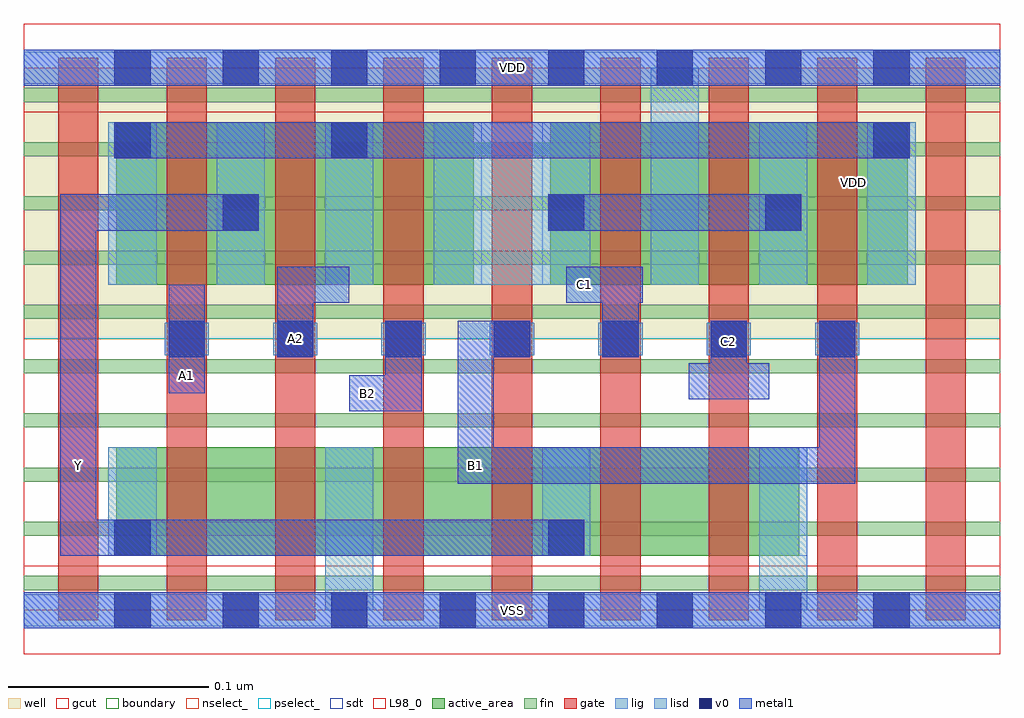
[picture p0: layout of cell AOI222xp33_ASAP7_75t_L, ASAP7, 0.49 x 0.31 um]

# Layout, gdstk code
import gdstk
lib = gdstk.Library(unit=1e-6, precision=2.5e-10)
def R(c, l, rs):  # rectangles x0, y0, x1, y1
    for r in rs: c.add(gdstk.rectangle(r[:2], r[2:], *l))
def A(c, l, x, y, w, h, nx, ny, dx, dy):  # array of equal rectangles
    R(c, l, [(x+i*dx, y+j*dy, x+i*dx+w, y+j*dy+h) for i in range(nx) for j in range(ny)])
def P(c, l, *ps):  # polygons
    for p in ps: c.add(gdstk.Polygon(p, *l))
well = (1, 0)
fin = (2, 0)
gate = (7, 0)
gcut = (10, 0)
active_area = (11, 0)
nselect_ = (12, 0)
pselect_ = (13, 0)
lig = (16, 0)
lisd = (17, 0)
v0 = (18, 0)
metal1 = (19, 0)
sdt = (88, 0)
L98_0 = (98, 0)
boundary = (100, 0)

aoi222xp33_asap7_75t_l = lib.new_cell('AOI222xp33_ASAP7_75t_L')
R(aoi222xp33_asap7_75t_l, well, [(0,0.135,0.486,0.27)])
A(aoi222xp33_asap7_75t_l, fin, 0, 0.01, 0.486, 0.007, 1, 10, 0, 0.027)
A(aoi222xp33_asap7_75t_l, gate, 0.017, -0.005, 0.02, 0.28, 9, 1, 0.054, 0)
R(aoi222xp33_asap7_75t_l, gcut, [(0,-0.022,0.486,0.022), (0,0.248,0.486,0.292)])
R(aoi222xp33_asap7_75t_l, active_area, [(0.046,0.027,0.386,0.081), (0.046,0.162,0.224,0.243), (0.262,0.162,0.44,0.243)])
R(aoi222xp33_asap7_75t_l, nselect_, [(0,0,0.486,0.135)])
R(aoi222xp33_asap7_75t_l, pselect_, [(0,0.135,0.486,0.27)])
A(aoi222xp33_asap7_75t_l, lig, 0.07, 0.127, 0.022, 0.016, 7, 1, 0.054, 0)
R(aoi222xp33_asap7_75t_l, lig, [(0,-0.008,0.486,0.008), (0,0.262,0.486,0.278)])
A(aoi222xp33_asap7_75t_l, lisd, 0.042, 0.162, 0.024, 0.081, 3, 1, 0.054, 0)
R(aoi222xp33_asap7_75t_l, lisd, [(0.15,0,0.174,0.081), (0.366,0,0.39,0.081), (0.042,0.027,0.066,0.081), (0.258,0.027,0.282,0.081), (0.204,0.162,0.282,0.243), (0.312,0.162,0.336,0.27), (0.366,0.162,0.39,0.243), (0.42,0.162,0.444,0.243)])
A(aoi222xp33_asap7_75t_l, v0, 0.045, -0.009, 0.018, 0.018, 8, 2, 0.054, 0.27)
A(aoi222xp33_asap7_75t_l, v0, 0.072, 0.126, 0.018, 0.018, 7, 1, 0.054, 0)
R(aoi222xp33_asap7_75t_l, v0, [(0.045,0.027,0.063,0.045), (0.261,0.027,0.279,0.045), (0.099,0.189,0.117,0.207), (0.261,0.189,0.279,0.207), (0.369,0.189,0.387,0.207), (0.045,0.225,0.063,0.243), (0.153,0.225,0.171,0.243), (0.423,0.225,0.441,0.243)])
R(aoi222xp33_asap7_75t_l, metal1, [(0,-0.009,0.486,0.009), (0.331,0.105,0.371,0.123), (0.072,0.108,0.09,0.162), (0.342,0.108,0.36,0.144), (0.276,0.153,0.308,0.171), (0.261,0.189,0.387,0.207), (0.045,0.225,0.441,0.243), (0,0.261,0.486,0.279)])
P(aoi222xp33_asap7_75t_l, metal1, [(0.126,0.126),(0.126,0.171),(0.162,0.171),(0.162,0.153),(0.144,0.153),(0.144,0.126)],
  [(0.288,0.126),(0.288,0.153),(0.27,0.153),(0.27,0.171),(0.306,0.171),(0.306,0.126)],
  [(0.162,0.099),(0.162,0.117),(0.18,0.117),(0.18,0.144),(0.198,0.144),(0.198,0.099)],
  [(0.162,0.099),(0.162,0.117),(0.18,0.117),(0.18,0.144),(0.198,0.144),(0.198,0.099)],
  [(0.162,0.099),(0.162,0.117),(0.18,0.117),(0.18,0.144),(0.198,0.144),(0.198,0.099)],
  [(0.018,0.027),(0.018,0.207),(0.117,0.207),(0.117,0.189),(0.036,0.189),(0.036,0.045),(0.279,0.045),(0.279,0.027)],
  [(0.216,0.063),(0.216,0.144),(0.252,0.144),(0.252,0.126),(0.234,0.126),(0.234,0.081),(0.396,0.081),(0.396,0.144),(0.414,0.144),(0.414,0.063)])
A(aoi222xp33_asap7_75t_l, sdt, 0.042, 0.027, 0.024, 0.054, 4, 1, 0.108, 0)
A(aoi222xp33_asap7_75t_l, sdt, 0.042, 0.162, 0.024, 0.081, 8, 1, 0.054, 0)
R(aoi222xp33_asap7_75t_l, L98_0, [(0,0,0.486,0.27)])
R(aoi222xp33_asap7_75t_l, boundary, [(0,0,0.486,0.27)])
aoi222xp33_asap7_75t_l.add(gdstk.Label('Y', (0.027,0.072), layer=19, texttype=251))
aoi222xp33_asap7_75t_l.add(gdstk.Label('C1', (0.279,0.162), layer=19, texttype=251))
aoi222xp33_asap7_75t_l.add(gdstk.Label('B2', (0.171,0.108), layer=19, texttype=251))
aoi222xp33_asap7_75t_l.add(gdstk.Label('A2', (0.135,0.135), layer=19, texttype=251))
aoi222xp33_asap7_75t_l.add(gdstk.Label('A1', (0.081,0.117), layer=19, texttype=251))
aoi222xp33_asap7_75t_l.add(gdstk.Label('VSS', (0.243,0), layer=19, texttype=251))
aoi222xp33_asap7_75t_l.add(gdstk.Label('VDD', (0.243,0.27), layer=19, texttype=251))
aoi222xp33_asap7_75t_l.add(gdstk.Label('B1', (0.225,0.072), layer=19, texttype=251))
aoi222xp33_asap7_75t_l.add(gdstk.Label('C2', (0.351,0.134), layer=19, texttype=251))
aoi222xp33_asap7_75t_l.add(gdstk.Label('VDD', (0.413,0.213), layer=1, texttype=251))
aoi222xp33_asap7_75t_l.add(gdstk.Label('VSS', (0.559,0.213), layer=3, texttype=251))

lib.write_gds('AOI222xp33_ASAP7_75t_L.gds')
